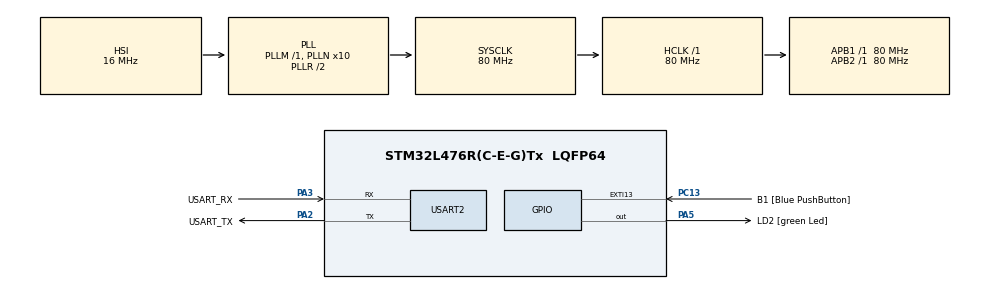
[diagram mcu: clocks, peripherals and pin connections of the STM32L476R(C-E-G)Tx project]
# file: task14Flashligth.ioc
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Mcu.Family=STM32L4
Mcu.Name=STM32L476R(C-E-G)Tx
Mcu.Package=LQFP64
NVIC.EXTI15_10_IRQn=true\:0\:0\:false\:false\:true\:true\:true\:true
NVIC.PriorityGroup=NVIC_PRIORITYGROUP_4
NVIC.TIM6_DAC_IRQn=true\:0\:0\:false\:false\:true\:true\:true\:true
NVIC.USART2_IRQn=true\:0\:0\:false\:false\:true\:true\:true\:true
PA13\ (JTMS-SWDIO).GPIO_Label=TMS
PA13\ (JTMS-SWDIO).Mode=Serial_Wire
PA13\ (JTMS-SWDIO).Signal=SYS_JTMS-SWDIO
PA14\ (JTCK-SWCLK).GPIO_Label=TCK
PA14\ (JTCK-SWCLK).Mode=Serial_Wire
PA14\ (JTCK-SWCLK).Signal=SYS_JTCK-SWCLK
PA2.GPIO_Label=USART_TX
PA2.GPIO_Mode=GPIO_MODE_AF_PP
PA2.GPIO_PuPd=GPIO_NOPULL
PA2.GPIO_Speed=GPIO_SPEED_FREQ_VERY_HIGH
PA2.Mode=Asynchronous
PA2.Signal=USART2_TX
PA3.GPIO_Label=USART_RX
PA3.GPIO_Mode=GPIO_MODE_AF_PP
PA3.GPIO_PuPd=GPIO_NOPULL
PA3.GPIO_Speed=GPIO_SPEED_FREQ_VERY_HIGH
PA3.Mode=Asynchronous
PA3.Signal=USART2_RX
PA5.GPIO_Label=LD2 [green Led]
PA5.GPIO_ModeDefaultOutputPP=GPIO_MODE_OUTPUT_PP
PA5.GPIO_PuPd=GPIO_NOPULL
PA5.GPIO_Speed=GPIO_SPEED_FREQ_LOW
PA5.Signal=GPIO_Output
PB3\ (JTDO-TRACESWO).GPIO_Label=SWO
PB3\ (JTDO-TRACESWO).Signal=SYS_JTDO-SWO
PC13.GPIO_Label=B1 [Blue PushButton]
PC13.GPIO_ModeDefaultEXTI=GPIO_MODE_IT_RISING_FALLING
PC13.GPIO_PuPd=GPIO_NOPULL
PC13.Signal=GPXTI13
PC14-OSC32_IN\ (PC14).Mode=LSE-External-Oscillator
PC14-OSC32_IN\ (PC14).Signal=RCC_OSC32_IN
PC15-OSC32_OUT\ (PC15).Mode=LSE-External-Oscillator
PC15-OSC32_OUT\ (PC15).Signal=RCC_OSC32_OUT
PH0-OSC_IN\ (PH0).Signal=RCC_OSC_IN
PH1-OSC_OUT\ (PH1).Signal=RCC_OSC_OUT
ProjectManager.HeapSize=0x200
ProjectManager.StackSize=0x400
ProjectManager.TargetToolchain=STM32CubeIDE
RCC.ADCFreq_Value=64000000
RCC.AHBFreq_Value=80000000
RCC.APB1Freq_Value=80000000
RCC.APB1TimFreq_Value=80000000
RCC.APB2Freq_Value=80000000
RCC.APB2TimFreq_Value=80000000
RCC.CortexFreq_Value=80000000
RCC.HCLKFreq_Value=80000000
RCC.HSE_VALUE=8000000
RCC.HSI_VALUE=16000000
RCC.MSI_VALUE=4000000
RCC.PLLN=10
RCC.PLLSourceVirtual=RCC_PLLSOURCE_HSI
RCC.PREFETCH_ENABLE=1
RCC.SYSCLKFreq_VALUE=80000000
RCC.SYSCLKSource=RCC_SYSCLKSOURCE_PLLCLK
RCC.USBFreq_Value=64000000
RCC.VCOOutputFreq_Value=160000000
TIM4.Period=100
TIM4.Prescaler=7999
TIM6.Period=4999
TIM6.Prescaler=7999
USART2.VirtualMode-Asynchronous=VM_ASYNC
VP_TIM4_VS_ClockSourceINT.Mode=Internal
VP_TIM6_VS_ClockSourceINT.Mode=Enable_Timer
board=NUCLEO-L476RG

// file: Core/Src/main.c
/* USER CODE BEGIN Header */
/**
  ******************************************************************************
  * @file           : main.c
  * @brief          : Main program body
  ******************************************************************************
  * @attention
  *
  * Copyright (c) 2022 STMicroelectronics.
  * All rights reserved.
  *
  * This software is licensed under terms that can be found in the LICENSE file
  * in the root directory of this software component.
  * If no LICENSE file comes with this software, it is provided AS-IS.
  *
  ******************************************************************************
  */
/* USER CODE END Header */
#include "main.h"

/* USER CODE BEGIN Includes */
#include "stateflashligth.h"
#include "butonevent.h"
#include <stdio.h>
#include <string.h>
/* USER CODE END Includes */

 TIM_HandleTypeDef htim4;
TIM_HandleTypeDef htim6;

UART_HandleTypeDef huart2;

void SystemClock_Config(void);
static void MX_GPIO_Init(void);
static void MX_USART2_UART_Init(void);
static void MX_TIM6_Init(void);
static void MX_TIM4_Init(void);

/* USER CODE BEGIN 0 */

////////////////////////////////////////////////////////////////////////
int _write(int fd, char* ptr, int len)
{
	HAL_UART_Transmit(&huart2, (uint8_t*)ptr, len, HAL_MAX_DELAY);
	return len;
}
//////////////////////////////////////////////////////////////////////

StateButton stateB1 = NO_BUTON;
uint16_t TickOnB1 = 0;
uint16_t TickOffB1 = 0;
uint16_t DelayTick = 0;
void HAL_GPIO_EXTI_Callback(uint16_t GPIO_Pin)
{

    if(HAL_GPIO_ReadPin(B1_GPIO_Port, B1_Pin) == 0)
    {
       TickOnB1=HAL_GetTick();
    }

    if(HAL_GPIO_ReadPin(B1_GPIO_Port, B1_Pin) == 1)
    {
       TickOffB1=HAL_GetTick();
    }
    DelayTick=TickOffB1-TickOnB1;

    if(DelayTick > 500)
    {
    	LedOnFull();
    }
    else if(DelayTick <= 500)
    {
    	__HAL_TIM_SET_AUTORELOAD(&htim4, 10);
    	__HAL_TIM_SET_COUNTER(&htim4, 0);
    	HAL_TIM_Base_Start_IT(&htim4);

    }
    printf("d=%d\r\n", DelayTick);

}

//////////////////////////////////////////////////////////////////////

//void HAL_GPIO_EXTI_Callback(uint16_t GPIO_Pin)
//{
//    changhState();
//}
//////////////////////////////////////////////////////////////////////
//
//void HAL_TIM_PeriodElapsedCallback(TIM_HandleTypeDef * htim)
//{
//    if(brightCunt < 10 && brightLevel >= brightCunt)
//	  {
//	   HAL_GPIO_WritePin(LD2_GPIO_Port, LD2_Pin, 1);
//	  }
//
//	  else
//	  {
//		  HAL_GPIO_WritePin(LD2_GPIO_Port, LD2_Pin, 0);
//	  }
//    brightCunt++;
//    if(brightCunt >= 10)
//	  brightCunt = 0;
//
//}

/////////////////////////////////////////////////////////////////

//void ledcontrol()
//{
//	switch (currentState)
//	  {
//	    case STATE_OFF:
//	    	LedOff();
//	    	break;
//	    case STATE_ON_FULL:
//	    	LedOnFull();
//	        break;
//
////	    case STATE_ON_HALF:
////	    	LedOnHalf();
////	        break;
//
//	    case STATE_ON_BLINKING:
//	    	LedOnBlinking();
//	        break;
//	  }
//}

///////////////////////////////////////////////////////////////
int brightCunt = 0 ;
int brightLevel  ;

void Led_setBrightness(int brightness)
{
	if(brightness > 10 )
	{
		printf("Invalid command\r\n");
		return;
	}

	__HAL_TIM_SET_AUTORELOAD(&htim6, 10);
	__HAL_TIM_SET_COUNTER(&htim6, 0);
	HAL_TIM_Base_Start_IT(&htim6);
	brightLevel = brightness ;

}

/////////////////////////////////////////////////////////////////////////
// Communication task definitions and functions
/////////////////////////////////////////////////////////////////////////

#define MAX_BUFFER_LENGTH 100

uint8_t cmdbuffer[MAX_BUFFER_LENGTH];
int cmdcount = 0;
int cmdprint = 0;

int Communication_commTask()
{
	uint8_t ch;

	HAL_StatusTypeDef Status = HAL_UART_Receive(&huart2, &ch, 1, 10);
	if (Status != HAL_OK)
	{
		if ((huart2.Instance->ISR & USART_ISR_ORE) != 0)
		{
			__HAL_UART_CLEAR_OREFLAG(&huart2);
		}

		// here we have a time to print the command
		while (cmdprint < cmdcount)
		{
			HAL_UART_Transmit(&huart2, &cmdbuffer[cmdprint++], 1, 0xFFFF);
		}

		return 0;
	}

	if (ch != '\r' && ch != '\n')
	{
		//HAL_UART_Transmit(&huart2, &ch, 1, 0xFFFF);

		if (cmdcount >= MAX_BUFFER_LENGTH)
		{
			cmdcount = 0;
			cmdprint = 0;
		}

		cmdbuffer[cmdcount++] = ch;
		return 0;
	}

	// here we have a time to print the command
	while (cmdprint < cmdcount)
	{
		HAL_UART_Transmit(&huart2, &cmdbuffer[cmdprint++], 1, 0xFFFF);
	}

	HAL_UART_Transmit(&huart2, (uint8_t*)"\r\n", 2, 0xFFFF);

	cmdbuffer[cmdcount] = 0;
	cmdcount = 0;
	cmdprint = 0;
	return 1;
}

void Communication_handleCommand()
{
  char cmd[20];
  int brightness;

  int params = sscanf((const char*)cmdbuffer, "%s %d", cmd, &brightness);

  if (params == 0)
  {
	  return;
  }

  if (strcmp(cmd, "off") == 0)
  {
  	  LedOff();
  }
  else if (strcmp(cmd, "full") == 0)
  {
	  LedOnFull();
  }
  else if (strcmp(cmd, "bright") == 0)
  {
	  Led_setBrightness(brightness);
  }

  else
  {
	  printf("Invalid command\r\n");
  }
}

/* USER CODE END 0 */

int main(void)
{

  /* MCU Configuration--------------------------------------------------------*/

  /* Reset of all peripherals, Initializes the Flash interface and the Systick. */
  HAL_Init();

  /* Configure the system clock */
  SystemClock_Config();

  /* Initialize all configured peripherals */
  MX_GPIO_Init();
  MX_USART2_UART_Init();
  MX_TIM6_Init();
  MX_TIM4_Init();
  /* USER CODE BEGIN 2 */
  HAL_NVIC_EnableIRQ(TIM6_IRQn);
  /* USER CODE END 2 */

  /* Infinite loop */
  while (1)
  {

  }
}

void SystemClock_Config(void)
{
  RCC_OscInitTypeDef RCC_OscInitStruct = {0};
  RCC_ClkInitTypeDef RCC_ClkInitStruct = {0};

  /** Configure the main internal regulator output voltage
  */
  if (HAL_PWREx_ControlVoltageScaling(PWR_REGULATOR_VOLTAGE_SCALE1) != HAL_OK)
  {
    Error_Handler();
  }

  /** Initializes the RCC Oscillators according to the specified parameters
  * in the RCC_OscInitTypeDef structure.
  */
  RCC_OscInitStruct.OscillatorType = RCC_OSCILLATORTYPE_HSI;
  RCC_OscInitStruct.HSIState = RCC_HSI_ON;
  RCC_OscInitStruct.HSICalibrationValue = RCC_HSICALIBRATION_DEFAULT;
  RCC_OscInitStruct.PLL.PLLState = RCC_PLL_ON;
  RCC_OscInitStruct.PLL.PLLSource = RCC_PLLSOURCE_HSI;
  RCC_OscInitStruct.PLL.PLLM = 1;
  RCC_OscInitStruct.PLL.PLLN = 10;
  RCC_OscInitStruct.PLL.PLLP = RCC_PLLP_DIV7;
  RCC_OscInitStruct.PLL.PLLQ = RCC_PLLQ_DIV2;
  RCC_OscInitStruct.PLL.PLLR = RCC_PLLR_DIV2;
  if (HAL_RCC_OscConfig(&RCC_OscInitStruct) != HAL_OK)
  {
    Error_Handler();
  }

  /** Initializes the CPU, AHB and APB buses clocks
  */
  RCC_ClkInitStruct.ClockType = RCC_CLOCKTYPE_HCLK|RCC_CLOCKTYPE_SYSCLK
                              |RCC_CLOCKTYPE_PCLK1|RCC_CLOCKTYPE_PCLK2;
  RCC_ClkInitStruct.SYSCLKSource = RCC_SYSCLKSOURCE_PLLCLK;
  RCC_ClkInitStruct.AHBCLKDivider = RCC_SYSCLK_DIV1;
  RCC_ClkInitStruct.APB1CLKDivider = RCC_HCLK_DIV1;
  RCC_ClkInitStruct.APB2CLKDivider = RCC_HCLK_DIV1;

  if (HAL_RCC_ClockConfig(&RCC_ClkInitStruct, FLASH_LATENCY_4) != HAL_OK)
  {
    Error_Handler();
  }
}

static void MX_TIM4_Init(void)
{

  TIM_ClockConfigTypeDef sClockSourceConfig = {0};
  TIM_MasterConfigTypeDef sMasterConfig = {0};

  htim4.Instance = TIM4;
  htim4.Init.Prescaler = 7999;
  htim4.Init.CounterMode = TIM_COUNTERMODE_UP;
  htim4.Init.Period = 100;
  htim4.Init.ClockDivision = TIM_CLOCKDIVISION_DIV1;
  htim4.Init.AutoReloadPreload = TIM_AUTORELOAD_PRELOAD_DISABLE;
  if (HAL_TIM_Base_Init(&htim4) != HAL_OK)
  {
    Error_Handler();
  }
  sClockSourceConfig.ClockSource = TIM_CLOCKSOURCE_INTERNAL;
  if (HAL_TIM_ConfigClockSource(&htim4, &sClockSourceConfig) != HAL_OK)
  {
    Error_Handler();
  }
  sMasterConfig.MasterOutputTrigger = TIM_TRGO_RESET;
  sMasterConfig.MasterSlaveMode = TIM_MASTERSLAVEMODE_DISABLE;
  if (HAL_TIMEx_MasterConfigSynchronization(&htim4, &sMasterConfig) != HAL_OK)
  {
    Error_Handler();
  }

}

static void MX_TIM6_Init(void)
{

  TIM_MasterConfigTypeDef sMasterConfig = {0};

  htim6.Instance = TIM6;
  htim6.Init.Prescaler = 7999;
  htim6.Init.CounterMode = TIM_COUNTERMODE_UP;
  htim6.Init.Period = 4999;
  htim6.Init.AutoReloadPreload = TIM_AUTORELOAD_PRELOAD_DISABLE;
  if (HAL_TIM_Base_Init(&htim6) != HAL_OK)
  {
    Error_Handler();
  }
  sMasterConfig.MasterOutputTrigger = TIM_TRGO_RESET;
  sMasterConfig.MasterSlaveMode = TIM_MASTERSLAVEMODE_DISABLE;
  if (HAL_TIMEx_MasterConfigSynchronization(&htim6, &sMasterConfig) != HAL_OK)
  {
    Error_Handler();
  }

}

static void MX_USART2_UART_Init(void)
{

  huart2.Instance = USART2;
  huart2.Init.BaudRate = 115200;
  huart2.Init.WordLength = UART_WORDLENGTH_8B;
  huart2.Init.StopBits = UART_STOPBITS_1;
  huart2.Init.Parity = UART_PARITY_NONE;
  huart2.Init.Mode = UART_MODE_TX_RX;
  huart2.Init.HwFlowCtl = UART_HWCONTROL_NONE;
  huart2.Init.OverSampling = UART_OVERSAMPLING_16;
  huart2.Init.OneBitSampling = UART_ONE_BIT_SAMPLE_DISABLE;
  huart2.AdvancedInit.AdvFeatureInit = UART_ADVFEATURE_NO_INIT;
  if (HAL_UART_Init(&huart2) != HAL_OK)
  {
    Error_Handler();
  }

}

static void MX_GPIO_Init(void)
{
  GPIO_InitTypeDef GPIO_InitStruct = {0};

  /* GPIO Ports Clock Enable */
  __HAL_RCC_GPIOC_CLK_ENABLE();
  __HAL_RCC_GPIOH_CLK_ENABLE();
  __HAL_RCC_GPIOA_CLK_ENABLE();
  __HAL_RCC_GPIOB_CLK_ENABLE();

  /*Configure GPIO pin Output Level */
  HAL_GPIO_WritePin(LD2_GPIO_Port, LD2_Pin, GPIO_PIN_RESET);

  /*Configure GPIO pin : B1_Pin */
  GPIO_InitStruct.Pin = B1_Pin;
  GPIO_InitStruct.Mode = GPIO_MODE_IT_RISING_FALLING;
  GPIO_InitStruct.Pull = GPIO_NOPULL;
  HAL_GPIO_Init(B1_GPIO_Port, &GPIO_InitStruct);

  /*Configure GPIO pin : LD2_Pin */
  GPIO_InitStruct.Pin = LD2_Pin;
  GPIO_InitStruct.Mode = GPIO_MODE_OUTPUT_PP;
  GPIO_InitStruct.Pull = GPIO_NOPULL;
  GPIO_InitStruct.Speed = GPIO_SPEED_FREQ_LOW;
  HAL_GPIO_Init(LD2_GPIO_Port, &GPIO_InitStruct);

  /* EXTI interrupt init*/
  HAL_NVIC_SetPriority(EXTI15_10_IRQn, 0, 0);
  HAL_NVIC_EnableIRQ(EXTI15_10_IRQn);

}

void Error_Handler(void)
{
  __disable_irq();
  while (1)
  {
  }
}
